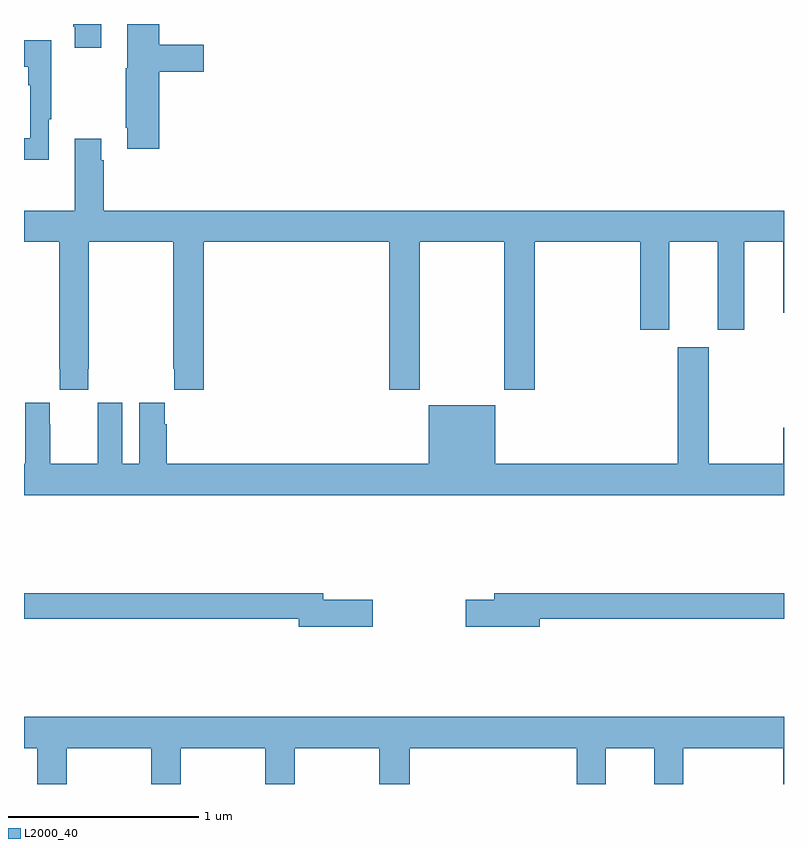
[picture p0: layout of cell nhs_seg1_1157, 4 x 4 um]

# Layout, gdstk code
import gdstk
lib = gdstk.Library(unit=1e-6, precision=1e-09)
def P(c, l, *ps):  # polygons
    for p in ps: c.add(gdstk.Polygon(p, *l))
L2000_40 = (2000, 40)

nhs_seg1_1157 = lib.new_cell('nhs_seg1_1157')
P(nhs_seg1_1157, L2000_40, [(173.711,565.949),(173.947,565.949),(173.947,566.091),(173.711,566.091),(173.711,566.199),(173.543,566.199),(173.543,565.965),(173.536,565.965),(173.536,565.654),(173.543,565.654),(173.543,565.542),(173.711,565.542)],
  [(173.407,566.199),(173.26,566.199),(173.26,566.185),(173.267,566.185),(173.267,566.073),(173.407,566.073)],
  [(173.131,565.697),(173.143,565.697),(173.143,566.113),(173,566.113),(173,565.973),(173.022,565.973),(173.022,565.877),(173.034,565.877),(173.034,565.598),(173,565.598),(173,565.485),(173.131,565.485)],
  [(173.337,564.385),(173.34,564.385),(173.34,565.052),(173.785,565.052),(173.785,564.385),(173.791,564.385),(173.791,564.273),(173.945,564.273),(173.945,565.052),(174.923,565.052),(174.923,564.273),(175.083,564.273),(175.083,565.052),(175.528,565.052),(175.528,564.273),(175.688,564.273),(175.688,565.052),(176.243,565.052),(176.243,564.591),(176.395,564.591),(176.395,565.052),(176.651,565.052),(176.651,564.591),(176.791,564.591),(176.791,565.052),(176.996,565.052),(176.996,564.678),(177,564.678),(177,565.216),(173.42,565.216),(173.42,565.481),(173.407,565.481),(173.407,565.594),(173.267,565.594),(173.267,565.216),(173,565.216),(173,565.052),(173.185,565.052),(173.185,564.385),(173.187,564.385),(173.187,564.273),(173.337,564.273)],
  [(173.606,564.205),(173.606,563.884),(173.518,563.884),(173.518,564.205),(173.388,564.205),(173.388,564.092),(173.387,564.092),(173.387,563.884),(173.137,563.884),(173.137,564.092),(173.136,564.092),(173.136,564.205),(173.006,564.205),(173.006,563.884),(173,563.884),(173,563.72),(177,563.72),(177,564.073),(176.996,564.073),(176.996,563.884),(176.605,563.884),(176.605,564.499),(176.441,564.499),(176.441,563.884),(175.48,563.884),(175.48,564.193),(175.13,564.193),(175.13,563.884),(173.75,563.884),(173.75,564.092),(173.74,564.092),(173.74,564.205)],
  [(174.835,563.168),(174.574,563.168),(174.574,563.204),(173,563.204),(173,563.068),(174.446,563.068),(174.446,563.026),(174.835,563.026)],
  [(175.714,563.068),(177,563.068),(177,563.204),(175.475,563.204),(175.475,563.168),(175.326,563.168),(175.326,563.026),(175.714,563.026)],
  [(173.226,562.388),(173.671,562.388),(173.671,562.199),(173.826,562.199),(173.826,562.388),(174.271,562.388),(174.271,562.199),(174.426,562.199),(174.426,562.388),(174.871,562.388),(174.871,562.199),(175.031,562.199),(175.031,562.388),(175.91,562.388),(175.91,562.199),(176.062,562.199),(176.062,562.388),(176.318,562.388),(176.318,562.199),(176.471,562.199),(176.471,562.388),(176.996,562.388),(176.996,562.199),(177,562.199),(177,562.552),(173,562.552),(173,562.388),(173.071,562.388),(173.071,562.199),(173.226,562.199)])

lib.write_gds('nhs_seg1_1157.gds')
